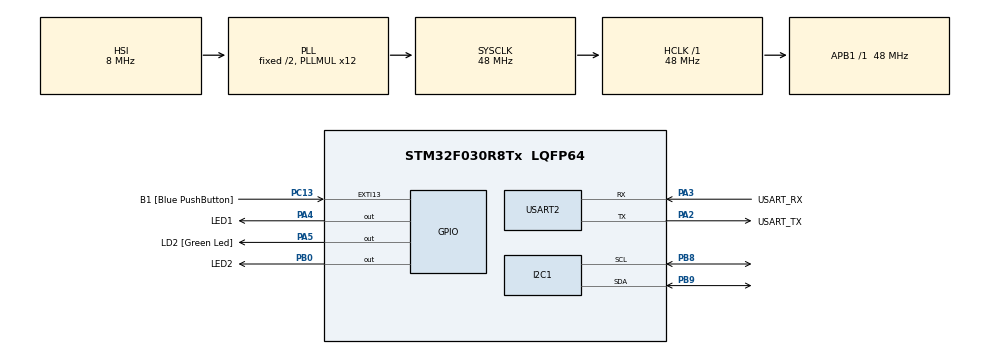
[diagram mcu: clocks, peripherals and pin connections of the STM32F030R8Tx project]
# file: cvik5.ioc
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Dma.Request0=USART2_RX
Dma.USART2_RX.0.Direction=DMA_PERIPH_TO_MEMORY
Dma.USART2_RX.0.Instance=DMA1_Channel5
Dma.USART2_RX.0.MemDataAlignment=DMA_MDATAALIGN_BYTE
Dma.USART2_RX.0.MemInc=DMA_MINC_ENABLE
Dma.USART2_RX.0.Mode=DMA_CIRCULAR
Dma.USART2_RX.0.PeriphDataAlignment=DMA_PDATAALIGN_BYTE
Dma.USART2_RX.0.PeriphInc=DMA_PINC_DISABLE
Dma.USART2_RX.0.Priority=DMA_PRIORITY_LOW
Mcu.Family=STM32F0
Mcu.Name=STM32F030R8Tx
Mcu.Package=LQFP64
NVIC.DMA1_Channel4_5_IRQn=true\:0\:0\:false\:false\:true\:false\:true\:true
PA13.GPIO_Label=TMS
PA13.Mode=Serial_Wire
PA13.Signal=SYS_SWDIO
PA14.GPIO_Label=TCK
PA14.Mode=Serial_Wire
PA14.Signal=SYS_SWCLK
PA2.GPIO_Label=USART_TX
PA2.GPIO_Mode=GPIO_MODE_AF_PP
PA2.GPIO_PuPd=GPIO_NOPULL
PA2.GPIO_Speed=GPIO_SPEED_FREQ_LOW
PA2.Mode=Asynchronous
PA2.Signal=USART2_TX
PA3.GPIO_Label=USART_RX
PA3.GPIO_Mode=GPIO_MODE_AF_PP
PA3.GPIO_PuPd=GPIO_NOPULL
PA3.GPIO_Speed=GPIO_SPEED_FREQ_LOW
PA3.Mode=Asynchronous
PA3.Signal=USART2_RX
PA4.GPIO_Label=LED1
PA4.Signal=GPIO_Output
PA5.GPIO_Label=LD2 [Green Led]
PA5.GPIO_Mode=GPIO_MODE_OUTPUT_PP
PA5.GPIO_PuPd=GPIO_NOPULL
PA5.GPIO_Speed=GPIO_SPEED_FREQ_LOW
PA5.Signal=GPIO_Output
PB0.GPIO_Label=LED2
PB0.Signal=GPIO_Output
PB8.Mode=I2C
PB8.Signal=I2C1_SCL
PB9.Mode=I2C
PB9.Signal=I2C1_SDA
PC13.GPIO_Label=B1 [Blue PushButton]
PC13.GPIO_ModeDefaultEXTI=GPIO_MODE_IT_FALLING
PC13.Signal=GPXTI13
PC14-OSC32_IN.Mode=LSE-External-Oscillator
PC14-OSC32_IN.Signal=RCC_OSC32_IN
PC15-OSC32_OUT.Mode=LSE-External-Oscillator
PC15-OSC32_OUT.Signal=RCC_OSC32_OUT
PF0-OSC_IN.Mode=HSE-External-Clock-Source
PF0-OSC_IN.Signal=RCC_OSC_IN
PF1-OSC_OUT.Signal=RCC_OSC_OUT
ProjectManager.HeapSize=0x200
ProjectManager.StackSize=0x400
ProjectManager.TargetToolchain=STM32CubeIDE
RCC.AHBFreq_Value=48000000
RCC.APB1Freq_Value=48000000
RCC.APB1TimFreq_Value=48000000
RCC.HCLKFreq_Value=48000000
RCC.PLLMUL=RCC_PLL_MUL12
RCC.SYSCLKFreq_VALUE=48000000
RCC.SYSCLKSource=RCC_SYSCLKSOURCE_PLLCLK
USART2.VirtualMode-Asynchronous=VM_ASYNC
board=NUCLEO-F030R8

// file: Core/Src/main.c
/* USER CODE BEGIN Header */
/**
  ******************************************************************************
  * @file           : main.c
  * @brief          : Main program body
  ******************************************************************************
  * @attention
  *
  * Copyright (c) 2023 STMicroelectronics.
  * All rights reserved.
  *
  * This software is licensed under terms that can be found in the LICENSE file
  * in the root directory of this software component.
  * If no LICENSE file comes with this software, it is provided AS-IS.
  *
  ******************************************************************************
  */
/* USER CODE END Header */
#include "main.h"

/* USER CODE BEGIN Includes */
#include <stdio.h>
#include <string.h>
#include <stdlib.h>
/* USER CODE END Includes */

/* USER CODE BEGIN PD */
#define RX_BUFFER_LEN 64
static uint8_t uart_rx_buf[RX_BUFFER_LEN];
static volatile uint16_t uart_rx_read_ptr = 0;
#define uart_rx_write_ptr (RX_BUFFER_LEN - hdma_usart2_rx.Instance->CNDTR)
#define CMD_BUFFER_LEN 256
#define EEPROM_ADDR 0xA0
#define DUMP_LENGHT (0XF+1)
/* USER CODE END PD */

I2C_HandleTypeDef hi2c1;

UART_HandleTypeDef huart2;
DMA_HandleTypeDef hdma_usart2_rx;

void SystemClock_Config(void);
static void MX_GPIO_Init(void);
static void MX_DMA_Init(void);
static void MX_USART2_UART_Init(void);
static void MX_I2C1_Init(void);

/* USER CODE BEGIN 0 */

int _write(int file, char const *buf, int n)
{
 /* stdout redirection to UART2 */
 HAL_UART_Transmit(&huart2, (uint8_t*)(buf), n, HAL_MAX_DELAY);
 return n;
}

void uart_process_command(char* cmd)
 {
	char *token;
	token = strtok(cmd, " ");
	if (strcasecmp(token, "HELLO") == 0) //test communication
	{
		printf("Komunikace OK\n");
	}

	else if (strcasecmp(token, "LED1") == 0) // Set/reset LED1
	{
		token = strtok(NULL, " ");
		if (strcasecmp(token, "ON") == 0) //LED1 ON
		{
			HAL_GPIO_WritePin(LED1_GPIO_Port, LED1_Pin, GPIO_PIN_SET);
		} else if (strcasecmp(token, "OFF") == 0) //LED1 OFF
		{
			HAL_GPIO_WritePin(LED1_GPIO_Port, LED1_Pin, GPIO_PIN_RESET);
		}
		printf("OK\n");
	}

	else if (strcasecmp(token, "LED2") == 0) // Set/reset LED2
	{
		token = strtok(NULL, " ");
		if (strcasecmp(token, "ON") == 0) //LED1 ON
		{
			HAL_GPIO_WritePin(LED2_GPIO_Port, LED2_Pin, GPIO_PIN_SET);
		} else if (strcasecmp(token, "OFF") == 0) //LED2 OFF
		{
			HAL_GPIO_WritePin(LED2_GPIO_Port, LED2_Pin, GPIO_PIN_RESET);
		}
		printf("OK\n");
	}

	else if (strcasecmp(token, "STATUS") == 0) // Return LEDs state
	{
		if (HAL_GPIO_ReadPin(LED1_GPIO_Port, LED1_Pin)) //LED1 ON
		{
			printf("LED1 ON\n");
		} else {
			printf("LED1 OFF\n");
		}
		if (HAL_GPIO_ReadPin(LED2_GPIO_Port, LED2_Pin)) //LED2 ON
		{
			printf("LED2 ON\n");
		} else {
			printf("LED2 OFF\n");
		}
	} else if (strcasecmp(token, "DUMP") == 0) // dump
	{
		uint8_t data[DUMP_LENGHT];
		HAL_I2C_Mem_Read(&hi2c1, EEPROM_ADDR, 0, I2C_MEMADD_SIZE_16BIT, data,DUMP_LENGHT, 1000);
		for (uint16_t i = 0; i < DUMP_LENGHT; i+=8) {
			for (uint8_t j = 0; j < 8; j++) {
				printf("%02X ", data[i]);

			}
			printf("\n");
		}
	}

	else if (strcasecmp(token, "READ") == 0) //Read
	{
		token = strtok(NULL, " ");
		uint8_t value = 0;
		uint16_t addr = atoi(token);
		HAL_I2C_Mem_Read(&hi2c1, EEPROM_ADDR, addr, I2C_MEMADD_SIZE_16BIT,&value, 1, 1000);
		printf("Adresa 0x%04X ", addr);
		printf(" = 0x%0Xx\n ", value);
	}

	else if (strcasecmp(token, "WRITE") == 0) //write
	{
		token = strtok(NULL, " ");
		uint16_t addr = atoi(token);
		token = strtok(NULL, " ");
		uint8_t value = atoi(token);
		uint8_t value2;
		HAL_I2C_Mem_Write(&hi2c1, EEPROM_ADDR, addr, I2C_MEMADD_SIZE_16BIT,&value, 1, 1000);

		while (HAL_I2C_IsDeviceReady(&hi2c1, EEPROM_ADDR, 300, 1000)== HAL_TIMEOUT);
		HAL_I2C_Mem_Read(&hi2c1, EEPROM_ADDR, addr, I2C_MEMADD_SIZE_16BIT,&value2, 1, 1000); //check

		if (value == value2) {
			printf("Na adresu 0x%04X ", addr);
			printf("zapsana hodnota 0x%02X.\n", value2); //correct value
		}

		else
			printf("Chyba zapisu, zapsana hodnota je 0x%02X\n ", value2); //wrong value
	}
 }

static void uart_byte_available(uint8_t c)
{
	static uint16_t cnt;
	static char data[CMD_BUFFER_LEN];
	if (cnt < CMD_BUFFER_LEN && c >= 32 && c <= 126) data[cnt++] = c;
	if ((c == '\n' || c == '\r') && cnt > 0)
	{
		data[cnt] = '\0';
		uart_process_command(data);
		cnt = 0;
	}
}

/* USER CODE END 0 */

int main(void)
{

  /* MCU Configuration--------------------------------------------------------*/

  /* Reset of all peripherals, Initializes the Flash interface and the Systick. */
  HAL_Init();

  /* Configure the system clock */
  SystemClock_Config();

  /* Initialize all configured peripherals */
  MX_GPIO_Init();
  MX_DMA_Init();
  MX_USART2_UART_Init();
  MX_I2C1_Init();
  /* USER CODE BEGIN 2 */
  HAL_UART_Receive_DMA(&huart2, uart_rx_buf, RX_BUFFER_LEN);
  /* USER CODE END 2 */

  /* Infinite loop */
  /* USER CODE BEGIN WHILE */
  while (1)
  {
	  while (uart_rx_read_ptr != uart_rx_write_ptr) {
	   uint8_t b = uart_rx_buf[uart_rx_read_ptr];
	   if (++uart_rx_read_ptr >= RX_BUFFER_LEN) uart_rx_read_ptr = 0; // increase read pointer
	   uart_byte_available(b); // process every received byte with the RX state machine
	  }

    /* USER CODE END WHILE */

  }
}

void SystemClock_Config(void)
{
  RCC_OscInitTypeDef RCC_OscInitStruct = {0};
  RCC_ClkInitTypeDef RCC_ClkInitStruct = {0};
  RCC_PeriphCLKInitTypeDef PeriphClkInit = {0};

  /** Initializes the RCC Oscillators according to the specified parameters
  * in the RCC_OscInitTypeDef structure.
  */
  RCC_OscInitStruct.OscillatorType = RCC_OSCILLATORTYPE_HSI;
  RCC_OscInitStruct.HSIState = RCC_HSI_ON;
  RCC_OscInitStruct.HSICalibrationValue = RCC_HSICALIBRATION_DEFAULT;
  RCC_OscInitStruct.PLL.PLLState = RCC_PLL_ON;
  RCC_OscInitStruct.PLL.PLLSource = RCC_PLLSOURCE_HSI;
  RCC_OscInitStruct.PLL.PLLMUL = RCC_PLL_MUL12;
  RCC_OscInitStruct.PLL.PREDIV = RCC_PREDIV_DIV1;
  if (HAL_RCC_OscConfig(&RCC_OscInitStruct) != HAL_OK)
  {
    Error_Handler();
  }

  /** Initializes the CPU, AHB and APB buses clocks
  */
  RCC_ClkInitStruct.ClockType = RCC_CLOCKTYPE_HCLK|RCC_CLOCKTYPE_SYSCLK
                              |RCC_CLOCKTYPE_PCLK1;
  RCC_ClkInitStruct.SYSCLKSource = RCC_SYSCLKSOURCE_PLLCLK;
  RCC_ClkInitStruct.AHBCLKDivider = RCC_SYSCLK_DIV1;
  RCC_ClkInitStruct.APB1CLKDivider = RCC_HCLK_DIV1;

  if (HAL_RCC_ClockConfig(&RCC_ClkInitStruct, FLASH_LATENCY_1) != HAL_OK)
  {
    Error_Handler();
  }
  PeriphClkInit.PeriphClockSelection = RCC_PERIPHCLK_I2C1;
  PeriphClkInit.I2c1ClockSelection = RCC_I2C1CLKSOURCE_HSI;
  if (HAL_RCCEx_PeriphCLKConfig(&PeriphClkInit) != HAL_OK)
  {
    Error_Handler();
  }
}

static void MX_I2C1_Init(void)
{

  hi2c1.Instance = I2C1;
  hi2c1.Init.Timing = 0x2000090E;
  hi2c1.Init.OwnAddress1 = 0;
  hi2c1.Init.AddressingMode = I2C_ADDRESSINGMODE_7BIT;
  hi2c1.Init.DualAddressMode = I2C_DUALADDRESS_DISABLE;
  hi2c1.Init.OwnAddress2 = 0;
  hi2c1.Init.OwnAddress2Masks = I2C_OA2_NOMASK;
  hi2c1.Init.GeneralCallMode = I2C_GENERALCALL_DISABLE;
  hi2c1.Init.NoStretchMode = I2C_NOSTRETCH_DISABLE;
  if (HAL_I2C_Init(&hi2c1) != HAL_OK)
  {
    Error_Handler();
  }

  /** Configure Analogue filter
  */
  if (HAL_I2CEx_ConfigAnalogFilter(&hi2c1, I2C_ANALOGFILTER_ENABLE) != HAL_OK)
  {
    Error_Handler();
  }

  /** Configure Digital filter
  */
  if (HAL_I2CEx_ConfigDigitalFilter(&hi2c1, 0) != HAL_OK)
  {
    Error_Handler();
  }

}

static void MX_USART2_UART_Init(void)
{

  huart2.Instance = USART2;
  huart2.Init.BaudRate = 38400;
  huart2.Init.WordLength = UART_WORDLENGTH_8B;
  huart2.Init.StopBits = UART_STOPBITS_1;
  huart2.Init.Parity = UART_PARITY_NONE;
  huart2.Init.Mode = UART_MODE_TX_RX;
  huart2.Init.HwFlowCtl = UART_HWCONTROL_NONE;
  huart2.Init.OverSampling = UART_OVERSAMPLING_16;
  huart2.Init.OneBitSampling = UART_ONE_BIT_SAMPLE_DISABLE;
  huart2.AdvancedInit.AdvFeatureInit = UART_ADVFEATURE_NO_INIT;
  if (HAL_UART_Init(&huart2) != HAL_OK)
  {
    Error_Handler();
  }

}

static void MX_DMA_Init(void)
{

  /* DMA controller clock enable */
  __HAL_RCC_DMA1_CLK_ENABLE();

  /* DMA interrupt init */
  /* DMA1_Channel4_5_IRQn interrupt configuration */
  HAL_NVIC_SetPriority(DMA1_Channel4_5_IRQn, 0, 0);
  HAL_NVIC_EnableIRQ(DMA1_Channel4_5_IRQn);

}

static void MX_GPIO_Init(void)
{
  GPIO_InitTypeDef GPIO_InitStruct = {0};

  /* GPIO Ports Clock Enable */
  __HAL_RCC_GPIOC_CLK_ENABLE();
  __HAL_RCC_GPIOF_CLK_ENABLE();
  __HAL_RCC_GPIOA_CLK_ENABLE();
  __HAL_RCC_GPIOB_CLK_ENABLE();

  /*Configure GPIO pin Output Level */
  HAL_GPIO_WritePin(GPIOA, LED1_Pin|LD2_Pin, GPIO_PIN_RESET);

  /*Configure GPIO pin Output Level */
  HAL_GPIO_WritePin(LED2_GPIO_Port, LED2_Pin, GPIO_PIN_RESET);

  /*Configure GPIO pin : B1_Pin */
  GPIO_InitStruct.Pin = B1_Pin;
  GPIO_InitStruct.Mode = GPIO_MODE_IT_FALLING;
  GPIO_InitStruct.Pull = GPIO_NOPULL;
  HAL_GPIO_Init(B1_GPIO_Port, &GPIO_InitStruct);

  /*Configure GPIO pins : LED1_Pin LD2_Pin */
  GPIO_InitStruct.Pin = LED1_Pin|LD2_Pin;
  GPIO_InitStruct.Mode = GPIO_MODE_OUTPUT_PP;
  GPIO_InitStruct.Pull = GPIO_NOPULL;
  GPIO_InitStruct.Speed = GPIO_SPEED_FREQ_LOW;
  HAL_GPIO_Init(GPIOA, &GPIO_InitStruct);

  /*Configure GPIO pin : LED2_Pin */
  GPIO_InitStruct.Pin = LED2_Pin;
  GPIO_InitStruct.Mode = GPIO_MODE_OUTPUT_PP;
  GPIO_InitStruct.Pull = GPIO_NOPULL;
  GPIO_InitStruct.Speed = GPIO_SPEED_FREQ_LOW;
  HAL_GPIO_Init(LED2_GPIO_Port, &GPIO_InitStruct);

}

void Error_Handler(void)
{
  __disable_irq();
  while (1)
  {
  }
}
